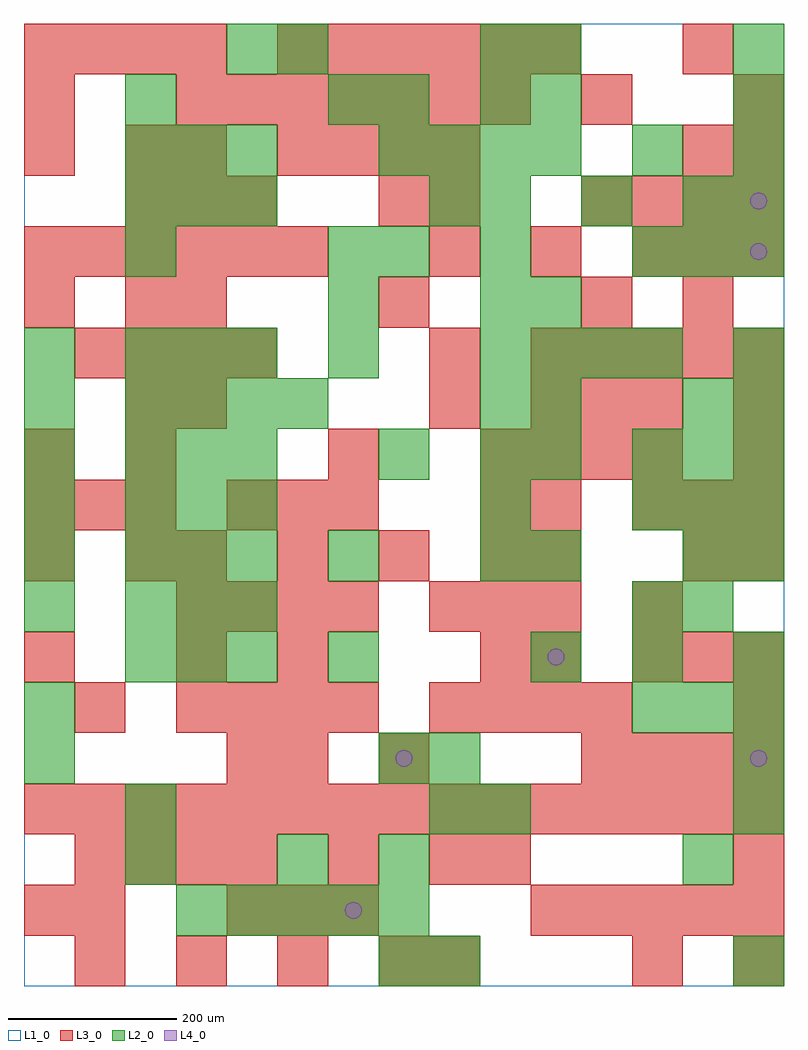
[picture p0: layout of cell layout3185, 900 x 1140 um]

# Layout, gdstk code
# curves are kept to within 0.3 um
import gdstk
lib = gdstk.Library(unit=1e-6, precision=1e-09)
def R(c, l, rs):  # rectangles x0, y0, x1, y1
    for r in rs: c.add(gdstk.rectangle(r[:2], r[2:], *l))
def A(c, l, x, y, w, h, nx, ny, dx, dy):  # array of equal rectangles
    R(c, l, [(x+i*dx, y+j*dy, x+i*dx+w, y+j*dy+h) for i in range(nx) for j in range(ny)])
def P(c, l, *ps):  # polygons
    for p in ps: c.add(gdstk.Polygon(p, *l))
L1_0 = (1, 0)
L2_0 = (2, 0)
L3_0 = (3, 0)
L4_0 = (4, 0)

layout3185 = lib.new_cell('layout3185')
R(layout3185, L1_0, [(0,0,900,1140)])
A(layout3185, L2_0, 420, 0, 60, 60, 1, 3, 0, 120)
A(layout3185, L2_0, 180, 60, 60, 60, 5, 1, 60, 0)
A(layout3185, L2_0, 720, 300, 60, 60, 3, 2, 60, 240)
A(layout3185, L2_0, 120, 360, 60, 60, 3, 5, 60, 60)
A(layout3185, L2_0, 600, 360, 60, 60, 3, 1, 120, 0)
A(layout3185, L2_0, 0, 420, 60, 60, 1, 6, 0, 60)
A(layout3185, L2_0, 540, 480, 60, 60, 1, 4, 0, 60)
A(layout3185, L2_0, 720, 600, 60, 60, 3, 2, 60, 240)
A(layout3185, L2_0, 120, 660, 60, 60, 4, 1, 60, 0)
A(layout3185, L2_0, 120, 720, 60, 60, 3, 2, 60, 180)
A(layout3185, L2_0, 360, 720, 60, 60, 1, 3, 0, 60)
A(layout3185, L2_0, 540, 720, 60, 60, 4, 1, 60, 0)
A(layout3185, L2_0, 540, 900, 60, 60, 3, 1, 120, 0)
A(layout3185, L2_0, 840, 900, 60, 60, 1, 4, 0, 60)
A(layout3185, L2_0, 120, 960, 60, 60, 3, 1, 60, 0)
A(layout3185, L2_0, 420, 960, 60, 60, 4, 1, 60, 0)
R(layout3185, L2_0, [(480,0,540,60), (840,0,900,60), (120,120,180,180), (300,120,360,180), (780,120,840,180), (120,180,180,240), (480,180,540,240), (540,180,600,240), (840,180,900,240), (0,240,60,300), (480,240,540,300), (840,240,900,300), (0,300,60,360), (360,360,420,420), (720,420,780,480), (780,420,840,480), (360,480,420,540), (600,480,660,540), (780,480,840,540), (840,480,900,540), (420,600,480,660), (600,600,660,660), (600,660,660,720), (780,660,840,720), (840,660,900,720), (840,720,900,780), (540,780,600,840), (600,780,660,840), (120,840,180,900), (420,840,480,900), (540,840,600,900), (480,900,540,960), (720,960,780,1020), (120,1020,180,1080), (360,1020,420,1080), (420,1020,480,1080), (540,1020,600,1080), (600,1020,660,1080), (240,1080,300,1140), (300,1080,360,1140), (540,1080,600,1140), (600,1080,660,1140)])
A(layout3185, L3_0, 60, 0, 60, 60, 4, 1, 120, 0)
A(layout3185, L3_0, 240, 60, 60, 60, 3, 2, 60, 480)
A(layout3185, L3_0, 600, 60, 60, 60, 5, 2, 60, 660)
A(layout3185, L3_0, 60, 120, 60, 60, 4, 2, 60, 600)
A(layout3185, L3_0, 840, 120, 60, 60, 1, 3, 0, 180)
A(layout3185, L3_0, 0, 180, 60, 60, 15, 1, 60, 0)
A(layout3185, L3_0, 660, 240, 60, 60, 4, 2, 60, 660)
A(layout3185, L3_0, 180, 300, 60, 60, 4, 2, 60, 120)
A(layout3185, L3_0, 480, 300, 60, 60, 4, 1, 60, 0)
A(layout3185, L3_0, 0, 360, 60, 60, 1, 3, 0, 120)
A(layout3185, L3_0, 180, 360, 60, 60, 1, 3, 0, 300)
A(layout3185, L3_0, 720, 360, 60, 60, 3, 2, 60, 180)
A(layout3185, L3_0, 480, 420, 60, 60, 3, 1, 60, 0)
A(layout3185, L3_0, 180, 480, 60, 60, 4, 1, 120, 0)
A(layout3185, L3_0, 0, 540, 60, 60, 3, 1, 60, 0)
A(layout3185, L3_0, 540, 600, 60, 60, 4, 1, 60, 0)
A(layout3185, L3_0, 600, 660, 60, 60, 3, 1, 60, 0)
A(layout3185, L3_0, 180, 780, 60, 60, 3, 1, 240, 0)
A(layout3185, L3_0, 0, 840, 60, 60, 6, 1, 60, 0)
A(layout3185, L3_0, 480, 840, 60, 60, 3, 1, 120, 0)
A(layout3185, L3_0, 780, 840, 60, 60, 1, 3, 0, 120)
A(layout3185, L3_0, 120, 900, 60, 60, 3, 1, 60, 0)
A(layout3185, L3_0, 300, 960, 60, 60, 4, 1, 60, 0)
A(layout3185, L3_0, 180, 1020, 60, 60, 7, 1, 60, 0)
A(layout3185, L3_0, 0, 1080, 60, 60, 4, 1, 60, 0)
A(layout3185, L3_0, 300, 1080, 60, 60, 6, 1, 60, 0)
R(layout3185, L3_0, [(480,0,540,60), (720,0,780,60), (840,0,900,60), (0,60,60,120), (60,60,120,120), (360,120,420,180), (480,120,540,180), (540,120,600,180), (240,240,300,300), (300,240,360,300), (420,240,480,300), (60,300,120,360), (300,360,360,420), (540,360,600,420), (600,360,660,420), (720,420,780,480), (120,480,180,540), (600,480,660,540), (780,480,840,540), (540,540,600,600), (600,540,660,600), (120,600,180,660), (360,600,420,660), (840,600,900,660), (120,660,180,720), (480,660,540,720), (840,660,900,720), (480,720,540,780), (0,780,60,840), (120,780,180,840), (780,780,840,840), (840,840,900,900), (420,900,480,960), (480,900,540,960), (0,960,60,1020), (120,960,180,1020), (840,960,900,1020), (0,1020,60,1080), (660,1020,720,1080), (840,1020,900,1080)])
P(layout3185, L4_0, [(400,90),(399.239,93.827),(397.071,97.071),(393.827,99.239),(390,100),(386.173,99.239),(382.929,97.071),(380.761,93.827),(380,90),(380.761,86.173),(382.929,82.929),(386.173,80.761),(390,80),(393.827,80.761),(397.071,82.929),(399.239,86.173)],
  [(460,270),(459.239,273.827),(457.071,277.071),(453.827,279.239),(450,280),(446.173,279.239),(442.929,277.071),(440.761,273.827),(440,270),(440.761,266.173),(442.929,262.929),(446.173,260.761),(450,260),(453.827,260.761),(457.071,262.929),(459.239,266.173)],
  [(640,390),(639.239,393.827),(637.071,397.071),(633.827,399.239),(630,400),(626.173,399.239),(622.929,397.071),(620.761,393.827),(620,390),(620.761,386.173),(622.929,382.929),(626.173,380.761),(630,380),(633.827,380.761),(637.071,382.929),(639.239,386.173)],
  [(880,270),(879.239,273.827),(877.071,277.071),(873.827,279.239),(870,280),(866.173,279.239),(862.929,277.071),(860.761,273.827),(860,270),(860.761,266.173),(862.929,262.929),(866.173,260.761),(870,260),(873.827,260.761),(877.071,262.929),(879.239,266.173)],
  [(880,870),(879.239,873.827),(877.071,877.071),(873.827,879.239),(870,880),(866.173,879.239),(862.929,877.071),(860.761,873.827),(860,870),(860.761,866.173),(862.929,862.929),(866.173,860.761),(870,860),(873.827,860.761),(877.071,862.929),(879.239,866.173)],
  [(880,930),(879.239,933.827),(877.071,937.071),(873.827,939.239),(870,940),(866.173,939.239),(862.929,937.071),(860.761,933.827),(860,930),(860.761,926.173),(862.929,922.929),(866.173,920.761),(870,920),(873.827,920.761),(877.071,922.929),(879.239,926.173)])

lib.write_gds('layout3185.gds')
